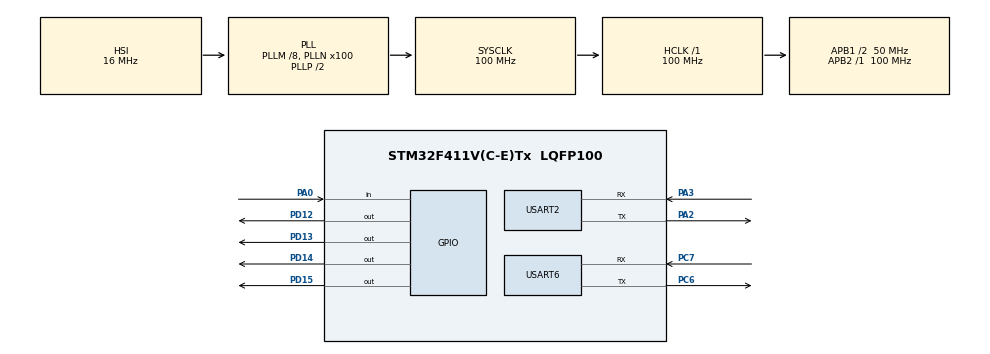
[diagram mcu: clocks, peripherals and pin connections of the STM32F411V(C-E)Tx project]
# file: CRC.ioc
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Mcu.Family=STM32F4
Mcu.Name=STM32F411V(C-E)Tx
Mcu.Package=LQFP100
NVIC.PriorityGroup=NVIC_PRIORITYGROUP_4
NVIC.USART2_IRQn=true\:0\:0\:false\:false\:true\:true\:true\:true
NVIC.USART6_IRQn=true\:0\:0\:false\:false\:true\:true\:true\:true
PA0-WKUP.GPIO_PuPd=GPIO_NOPULL
PA0-WKUP.Signal=GPIO_Input
PA13.Mode=Serial_Wire
PA13.Signal=SYS_JTMS-SWDIO
PA14.Mode=Serial_Wire
PA14.Signal=SYS_JTCK-SWCLK
PA2.Mode=Asynchronous
PA2.Signal=USART2_TX
PA3.Mode=Asynchronous
PA3.Signal=USART2_RX
PC6.Mode=Asynchronous
PC6.Signal=USART6_TX
PC7.Mode=Asynchronous
PC7.Signal=USART6_RX
PD12.Signal=GPIO_Output
PD13.Signal=GPIO_Output
PD14.Signal=GPIO_Output
PD15.Signal=GPIO_Output
ProjectManager.HeapSize=0x200
ProjectManager.StackSize=0x400
ProjectManager.TargetToolchain=STM32CubeIDE
RCC.48MHZClocksFreq_Value=50000000
RCC.AHBFreq_Value=100000000
RCC.APB1CLKDivider=RCC_HCLK_DIV2
RCC.APB1Freq_Value=50000000
RCC.APB1TimFreq_Value=100000000
RCC.APB2Freq_Value=100000000
RCC.APB2TimFreq_Value=100000000
RCC.CortexFreq_Value=100000000
RCC.HCLKFreq_Value=100000000
RCC.HSE_VALUE=25000000
RCC.HSI_VALUE=16000000
RCC.LSE_VALUE=32768
RCC.PLLM=8
RCC.PLLN=100
RCC.SYSCLKFreq_VALUE=100000000
RCC.SYSCLKSource=RCC_SYSCLKSOURCE_PLLCLK
RCC.VCOOutputFreq_Value=200000000
USART2.VirtualMode=VM_ASYNC
USART6.VirtualMode=VM_ASYNC
board=custom

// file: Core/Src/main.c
/* USER CODE BEGIN Header */
/**
  ******************************************************************************
  * @file           : main.c
  * @brief          : Main program body
  ******************************************************************************
  * @attention
  *
  * Copyright (c) 2022 STMicroelectronics.
  * All rights reserved.
  *
  * This software is licensed under terms that can be found in the LICENSE file
  * in the root directory of this software component.
  * If no LICENSE file comes with this software, it is provided AS-IS.
  *
  ******************************************************************************
  */
/* USER CODE END Header */
#include "main.h"

/* USER CODE BEGIN Includes */

#include "Command_Line.h"
#include "Frame_Sync.h"
#include "button.h"
#include "uart.h"
#include <string.h>
#include <stdio.h>

/* USER CODE END Includes */

UART_HandleTypeDef huart2;
UART_HandleTypeDef huart6;

void SystemClock_Config(void);
static void MX_GPIO_Init(void);
static void MX_USART2_UART_Init(void);
static void MX_USART6_UART_Init(void);

/* USER CODE BEGIN 0 */

uint8_t uart_rx_buf = 0;

BUTTON_HandleTypedef btn;

/*
 * CRC 8	10 02 00 11 22 33 D4 10 03
 * CRC 16	10 02 00 11 22 33 B0 08 10 03
 * CRC 32	10 02 00 11 22 33 24 C2 31 6D 10 03
 */
//uint8_t tx_frame_data[] = {0x00, 0x11, 0x22, 0x33};
uint8_t tx_frame_data[255];
uint8_t tx_frame_len = 0;
void BUTTON_Press_Short_Callback(BUTTON_HandleTypedef *ButtonX){
	if(ButtonX == &btn){
		FRAME_SYNC_Transmit(tx_frame_data, tx_frame_len);
	}
}

void FRAME_SYNC_RxCpltCallback(uint8_t *p_rx_data, uint8_t data_size){
	char tx_str[100] = "\nData: ";
	for(int i = 0; i < data_size; i++){
		char temp_str[4];
		sprintf(temp_str, "%02X ", p_rx_data[i]);
		strcat(tx_str, temp_str);
	}
	strcat(tx_str, "\nCRC Correct\n");
	HAL_UART_Transmit(&huart6, (uint8_t *)tx_str, strlen(tx_str), 1000);

}

void FRAME_SYNC_RxFailCallback(uint8_t *p_rx_data, uint8_t data_size){
	char tx_str[100] = "\nCRC Fail\n";
	HAL_UART_Transmit(&huart6, (uint8_t *)tx_str, strlen(tx_str), 1000);
}

void HAL_UART_RxCpltCallback(UART_HandleTypeDef *huart){
	if(huart->Instance == huart6.Instance){
		COMMAND_LINE_Receive(uart_rx_buf);
		HAL_UART_Receive_IT(&huart6, &uart_rx_buf, 1);
	} else if(huart->Instance == huart2.Instance){
		UART_Receive(uart_rx_buf);
		HAL_UART_Receive_IT(&huart2, &uart_rx_buf, 1);
	}
}

/* USER CODE END 0 */

int main(void)
{

  /* MCU Configuration--------------------------------------------------------*/

  /* Reset of all peripherals, Initializes the Flash interface and the Systick. */
  HAL_Init();

  /* Configure the system clock */
  SystemClock_Config();

  /* Initialize all configured peripherals */
  MX_GPIO_Init();
  MX_USART2_UART_Init();
  MX_USART6_UART_Init();
  /* USER CODE BEGIN 2 */

  BUTTON_Init(&btn, GPIOA, GPIO_PIN_0, 0);
  BUTTON_Set_Callback_Function(NULL, NULL, BUTTON_Press_Short_Callback, NULL);

  HAL_UART_Receive_IT(&huart6, &uart_rx_buf, 1);
  HAL_UART_Receive_IT(&huart2, &uart_rx_buf, 1);
  UART_Init();

  /* USER CODE END 2 */

  /* Infinite loop */
  while (1)
  {

    /* USER CODE BEGIN 3 */

	  BUTTON_Handle(&btn);

	  UART_Handle();

	  COMMAND_LINE_Handle();

//	  FRAME_SYNC_Handle();

  }
  /* USER CODE END 3 */
}

void SystemClock_Config(void)
{
  RCC_OscInitTypeDef RCC_OscInitStruct = {0};
  RCC_ClkInitTypeDef RCC_ClkInitStruct = {0};

  /** Configure the main internal regulator output voltage
  */
  __HAL_RCC_PWR_CLK_ENABLE();
  __HAL_PWR_VOLTAGESCALING_CONFIG(PWR_REGULATOR_VOLTAGE_SCALE1);

  /** Initializes the RCC Oscillators according to the specified parameters
  * in the RCC_OscInitTypeDef structure.
  */
  RCC_OscInitStruct.OscillatorType = RCC_OSCILLATORTYPE_HSI;
  RCC_OscInitStruct.HSIState = RCC_HSI_ON;
  RCC_OscInitStruct.HSICalibrationValue = RCC_HSICALIBRATION_DEFAULT;
  RCC_OscInitStruct.PLL.PLLState = RCC_PLL_ON;
  RCC_OscInitStruct.PLL.PLLSource = RCC_PLLSOURCE_HSI;
  RCC_OscInitStruct.PLL.PLLM = 8;
  RCC_OscInitStruct.PLL.PLLN = 100;
  RCC_OscInitStruct.PLL.PLLP = RCC_PLLP_DIV2;
  RCC_OscInitStruct.PLL.PLLQ = 4;
  if (HAL_RCC_OscConfig(&RCC_OscInitStruct) != HAL_OK)
  {
    Error_Handler();
  }

  /** Initializes the CPU, AHB and APB buses clocks
  */
  RCC_ClkInitStruct.ClockType = RCC_CLOCKTYPE_HCLK|RCC_CLOCKTYPE_SYSCLK
                              |RCC_CLOCKTYPE_PCLK1|RCC_CLOCKTYPE_PCLK2;
  RCC_ClkInitStruct.SYSCLKSource = RCC_SYSCLKSOURCE_PLLCLK;
  RCC_ClkInitStruct.AHBCLKDivider = RCC_SYSCLK_DIV1;
  RCC_ClkInitStruct.APB1CLKDivider = RCC_HCLK_DIV2;
  RCC_ClkInitStruct.APB2CLKDivider = RCC_HCLK_DIV1;

  if (HAL_RCC_ClockConfig(&RCC_ClkInitStruct, FLASH_LATENCY_3) != HAL_OK)
  {
    Error_Handler();
  }
}

static void MX_USART2_UART_Init(void)
{

  huart2.Instance = USART2;
  huart2.Init.BaudRate = 115200;
  huart2.Init.WordLength = UART_WORDLENGTH_8B;
  huart2.Init.StopBits = UART_STOPBITS_1;
  huart2.Init.Parity = UART_PARITY_NONE;
  huart2.Init.Mode = UART_MODE_TX_RX;
  huart2.Init.HwFlowCtl = UART_HWCONTROL_NONE;
  huart2.Init.OverSampling = UART_OVERSAMPLING_16;
  if (HAL_UART_Init(&huart2) != HAL_OK)
  {
    Error_Handler();
  }

}

static void MX_USART6_UART_Init(void)
{

  huart6.Instance = USART6;
  huart6.Init.BaudRate = 115200;
  huart6.Init.WordLength = UART_WORDLENGTH_8B;
  huart6.Init.StopBits = UART_STOPBITS_1;
  huart6.Init.Parity = UART_PARITY_NONE;
  huart6.Init.Mode = UART_MODE_TX_RX;
  huart6.Init.HwFlowCtl = UART_HWCONTROL_NONE;
  huart6.Init.OverSampling = UART_OVERSAMPLING_16;
  if (HAL_UART_Init(&huart6) != HAL_OK)
  {
    Error_Handler();
  }

}

static void MX_GPIO_Init(void)
{
  GPIO_InitTypeDef GPIO_InitStruct = {0};

  /* GPIO Ports Clock Enable */
  __HAL_RCC_GPIOA_CLK_ENABLE();
  __HAL_RCC_GPIOD_CLK_ENABLE();
  __HAL_RCC_GPIOC_CLK_ENABLE();

  /*Configure GPIO pin Output Level */
  HAL_GPIO_WritePin(GPIOD, GPIO_PIN_12|GPIO_PIN_13|GPIO_PIN_14|GPIO_PIN_15, GPIO_PIN_RESET);

  /*Configure GPIO pin : PA0 */
  GPIO_InitStruct.Pin = GPIO_PIN_0;
  GPIO_InitStruct.Mode = GPIO_MODE_INPUT;
  GPIO_InitStruct.Pull = GPIO_NOPULL;
  HAL_GPIO_Init(GPIOA, &GPIO_InitStruct);

  /*Configure GPIO pins : PD12 PD13 PD14 PD15 */
  GPIO_InitStruct.Pin = GPIO_PIN_12|GPIO_PIN_13|GPIO_PIN_14|GPIO_PIN_15;
  GPIO_InitStruct.Mode = GPIO_MODE_OUTPUT_PP;
  GPIO_InitStruct.Pull = GPIO_NOPULL;
  GPIO_InitStruct.Speed = GPIO_SPEED_FREQ_LOW;
  HAL_GPIO_Init(GPIOD, &GPIO_InitStruct);

}

void Error_Handler(void)
{
  __disable_irq();
  while (1)
  {
  }
}
